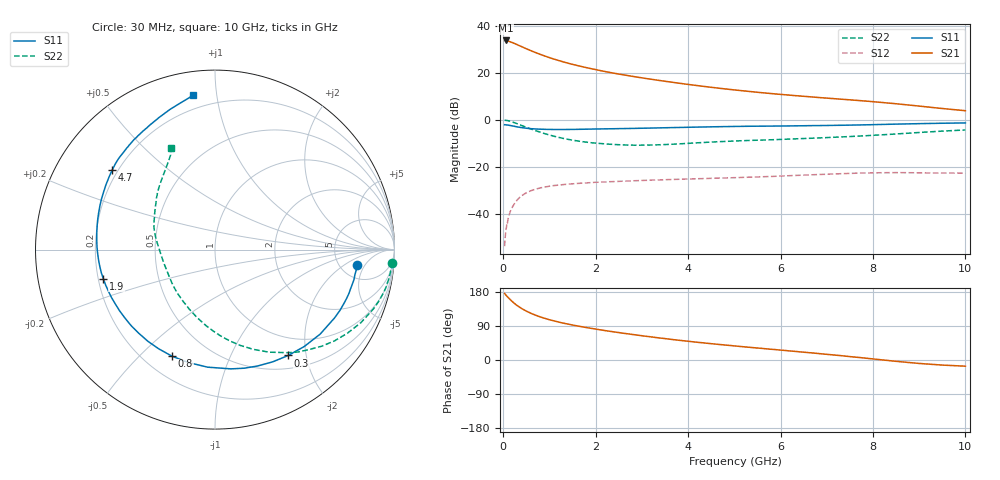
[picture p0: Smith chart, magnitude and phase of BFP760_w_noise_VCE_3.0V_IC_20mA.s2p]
! Infineon Technologies  Discrete & RF Semiconductors
! BFP760
! VCE =  3.0 V,  IC =  20 mA
! Common Emitter S-Parameters:  Nov 2012
# GHz  S  MA  R  50
!  f  S11  S21  S12  S22
! GHz  MAG  ANG  MAG  ANG  MAG  ANG  MAG  ANG
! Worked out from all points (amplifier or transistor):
!   99 points, 30 MHz to 10 GHz, reference 50 ohm
!   highest |S21| = 33.8 dB at 50 MHz (marker M1)
!   |S21| within 3 dB of that: start of sweep to 439.9 MHz
!   unconditionally stable (mu >= 1): 4.688 GHz to end of sweep
!   at 350 MHz: K = 0.21, MSG = 32.3 dB, |S12| = -33.0 dB
!   at 3.5 GHz: K = 0.86, MSG = 20.9 dB, |S12| = -25.3 dB
!   at 10 GHz: K = 1.10, MAG = 11.3 dB, |S12| = -22.5 dB
!   lowest NFmin = 0.63 dB at 900 MHz
!   S11 on the Smith chart (normalised r, x): 30 MHz: 7.21, -3.39; 300 MHz: 0.70, -1.69; 800 MHz: 0.31, -0.63; 1.9 GHz: 0.22, -0.12; 4.7 GHz: 0.18, +0.33; 10 GHz: 0.12, +0.86
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0.03  0.7966 -6.2  48.73 175.6  0.0021 74.7  0.9901 -4.2
0.05  0.7919 -10.2  49.01 172.3  0.0038 73.5  0.986 -6.9
0.1  0.7824 -20.2  47.65 165.7  0.0075 81.7  0.9712 -13.9
0.15  0.767 -29.8  45.96 159.5  0.0113 75.1  0.9427 -20.5
0.2  0.7516 -38.8  44.01 153.8  0.0143 70.1  0.9091 -26.6
0.25  0.7342 -47.3  42.05 148.6  0.0172 67.2  0.8729 -32.2
0.3  0.7172 -55.3  40.01 143.9  0.02 63.5  0.8377 -37.4
0.4  0.6905 -69.9  36.18 135.7  0.0247 58.0  0.7658 -46.6
0.5  0.6704 -82.4  32.71 129.0  0.0286 52.6  0.7021 -54.9
0.6  0.6563 -93.6  29.71 123.2  0.0316 48.8  0.6459 -62.2
0.8  0.6404 -111.9  24.86 113.8  0.0362 42.1  0.5529 -75.1
1  0.633 -126.2  21.19 106.3  0.0394 37.5  0.4818 -86.3
1.2  0.6308 -137.7  18.36 100.1  0.0416 34.0  0.4292 -96.2
1.7  0.6375 -158.8  13.66 87.8  0.0458 28.8  0.3485 -117.3
1.9  0.643 -165.4  12.35 83.6  0.047 27.5  0.3304 -125.1
2.6  0.6598 176.4  9.124 70.6  0.0504 24.5  0.2965 -148.8
3.4  0.6829 160.7  6.883 57.9  0.0537 22.6  0.2994 -171.8
4.7  0.7236 142.4  4.709 40.7  0.0586 20.8  0.3485 164.5
5.1  0.7339 138.7  4.265 36.1  0.0602 20.5  0.3623 159.8
6.7  0.7617 126.1  3.081 18.5  0.069 18.3  0.4125 143.4
8.5  0.8199 107.9  2.22 -3.5  0.0766 9.4  0.5062 124.6
10  0.8698 98.0  1.579 -16.3  0.0746 5.7  0.6165 113.3
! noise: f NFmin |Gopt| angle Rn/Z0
0.9  0.63  0.08  43  0.09
1.8  0.67  0.06  168  0.08
2.4  0.72  0.08  -178  0.08
3.5  0.83  0.12  -153  0.09
5.5  1.06  0.26  -120  0.11
8  1.37  0.38  -84  0.32
